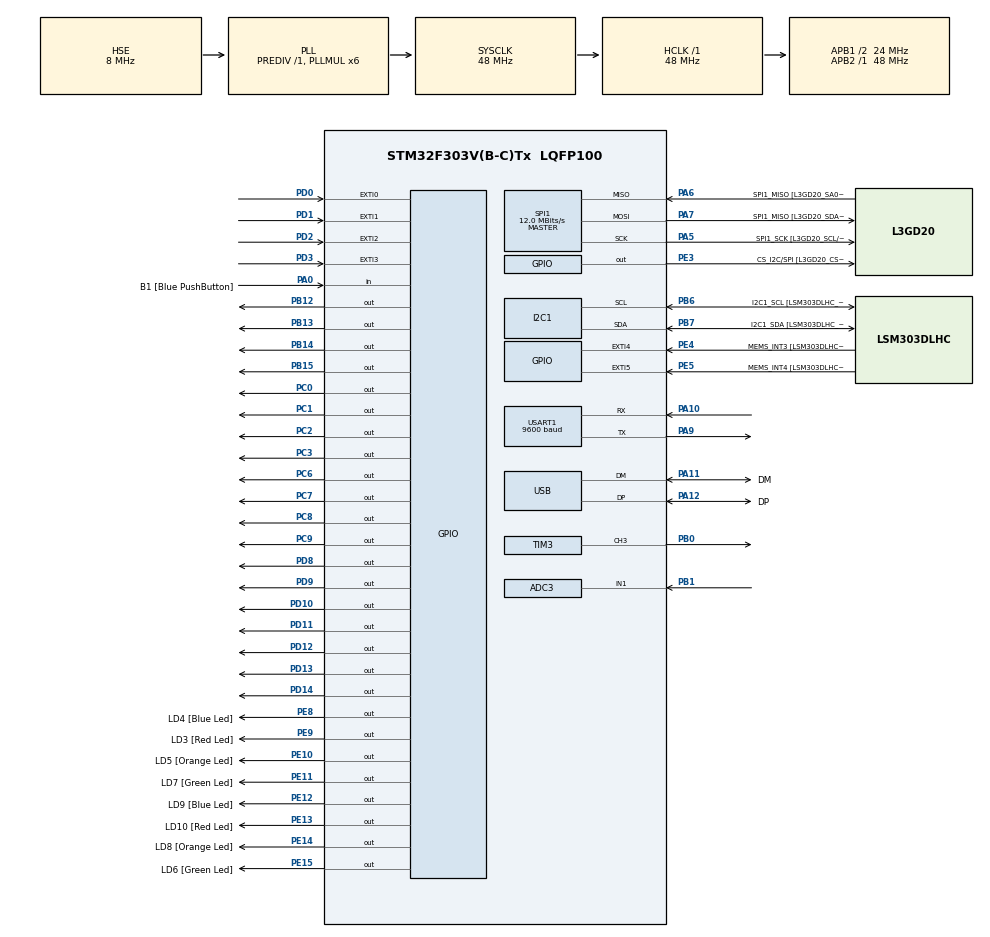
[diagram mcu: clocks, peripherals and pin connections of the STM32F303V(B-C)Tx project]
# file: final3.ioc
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ADC3.Channel-0\#ChannelRegularConversion=ADC_CHANNEL_1
ADC3.NbrOfConversionFlag=1
ADC3.Offset-0\#ChannelRegularConversion=0
ADC3.OffsetNumber-0\#ChannelRegularConversion=ADC_OFFSET_NONE
ADC3.Rank-0\#ChannelRegularConversion=1
ADC3.SamplingTime-0\#ChannelRegularConversion=ADC_SAMPLETIME_1CYCLE_5
ADC3.SamplingTimeOPAMP-0\#ChannelRegularConversion=ADC_SAMPLETIME_19CYCLES_5
ADC3.master=1
I2C1.Timing=0x2000090E
I2C1.Timing-I2C=0x2000090E
Mcu.Family=STM32F3
Mcu.Name=STM32F303V(B-C)Tx
Mcu.Package=LQFP100
NVIC.ADC3_IRQn=true\:0\:0\:false\:false\:true\:true\:true\:true
NVIC.EXTI0_IRQn=true\:0\:0\:false\:false\:true\:true\:true\:true
NVIC.EXTI1_IRQn=true\:0\:0\:false\:false\:true\:true\:true\:true
NVIC.EXTI2_TSC_IRQn=true\:0\:0\:false\:false\:true\:true\:true\:true
NVIC.EXTI3_IRQn=true\:0\:0\:false\:false\:true\:true\:true\:true
NVIC.PriorityGroup=NVIC_PRIORITYGROUP_0
NVIC.TIM3_IRQn=true\:0\:0\:false\:false\:true\:true\:true\:true
NVIC.USART1_IRQn=true\:0\:0\:false\:false\:true\:true\:true\:true
PA0.GPIO_Label=B1 [Blue PushButton]
PA0.Signal=GPIO_Input
PA10.Mode=Asynchronous
PA10.Signal=USART1_RX
PA11.GPIO_Label=DM
PA11.Mode=Device
PA11.Signal=USB_DM
PA12.GPIO_Label=DP
PA12.Mode=Device
PA12.Signal=USB_DP
PA13.GPIO_Label=SWDIO
PA13.Mode=Serial_Wire
PA13.Signal=SYS_JTMS-SWDIO
PA14.GPIO_Label=SWCLK
PA14.Mode=Serial_Wire
PA14.Signal=SYS_JTCK-SWCLK
PA5.GPIO_Label=SPI1_SCK [L3GD20_SCL/SPC]
PA5.Mode=Full_Duplex_Master
PA5.Signal=SPI1_SCK
PA6.GPIO_Label=SPI1_MISO [L3GD20_SA0/SDO]
PA6.Mode=Full_Duplex_Master
PA6.Signal=SPI1_MISO
PA7.GPIO_Label=SPI1_MISO [L3GD20_SDA/SDI/SDO]
PA7.Mode=Full_Duplex_Master
PA7.Signal=SPI1_MOSI
PA9.Mode=Asynchronous
PA9.Signal=USART1_TX
PB0.Signal=S_TIM3_CH3
PB1.Mode=IN1-Single-Ended
PB1.Signal=ADC3_IN1
PB12.Signal=GPIO_Output
PB13.Signal=GPIO_Output
PB14.Signal=GPIO_Output
PB15.Signal=GPIO_Output
PB3.GPIO_Label=SWO
PB3.Signal=SYS_JTDO-TRACESWO
PB6.GPIO_Label=I2C1_SCL [LSM303DLHC_SCL]
PB6.GPIO_Pu=GPIO_PULLUP
PB6.Mode=I2C
PB6.Signal=I2C1_SCL
PB7.GPIO_Label=I2C1_SDA [LSM303DLHC_SDA]
PB7.GPIO_Pu=GPIO_PULLUP
PB7.Mode=I2C
PB7.Signal=I2C1_SDA
PC0.Signal=GPIO_Output
PC1.Signal=GPIO_Output
PC14-OSC32_IN.GPIO_Label=OSC32_IN
PC14-OSC32_IN.Signal=RCC_OSC32_IN
PC15-OSC32_OUT.GPIO_Label=OSC32_OUT
PC15-OSC32_OUT.Signal=RCC_OSC32_OUT
PC2.Signal=GPIO_Output
PC3.Signal=GPIO_Output
PC6.Signal=GPIO_Output
PC7.Signal=GPIO_Output
PC8.Signal=GPIO_Output
PC9.Signal=GPIO_Output
PD0.GPIO_ModeDefaultEXTI=GPIO_MODE_IT_RISING_FALLING
PD0.GPIO_PuPd=GPIO_PULLDOWN
PD0.Signal=GPXTI0
PD1.GPIO_ModeDefaultEXTI=GPIO_MODE_IT_RISING_FALLING
PD1.GPIO_PuPd=GPIO_PULLDOWN
PD1.Signal=GPXTI1
PD10.Signal=GPIO_Output
PD11.Signal=GPIO_Output
PD12.Signal=GPIO_Output
PD13.Signal=GPIO_Output
PD14.Signal=GPIO_Output
PD2.GPIO_ModeDefaultEXTI=GPIO_MODE_IT_RISING_FALLING
PD2.GPIO_PuPd=GPIO_PULLDOWN
PD2.Signal=GPXTI2
PD3.GPIO_ModeDefaultEXTI=GPIO_MODE_IT_RISING_FALLING
PD3.GPIO_PuPd=GPIO_PULLDOWN
PD3.Signal=GPXTI3
PD8.Signal=GPIO_Output
PD9.Signal=GPIO_Output
PE10.GPIO_Label=LD5 [Orange Led]
PE10.Signal=GPIO_Output
PE11.GPIO_Label=LD7 [Green Led]
PE11.Signal=GPIO_Output
PE12.GPIO_Label=LD9 [Blue Led]
PE12.Signal=GPIO_Output
PE13.GPIO_Label=LD10 [Red Led]
PE13.Signal=GPIO_Output
PE14.GPIO_Label=LD8 [Orange Led]
PE14.Signal=GPIO_Output
PE15.GPIO_Label=LD6 [Green Led]
PE15.Signal=GPIO_Output
PE3.GPIO_Label=CS_I2C/SPI [L3GD20_CS_I2C/SPI]
PE3.Signal=GPIO_Output
PE4.GPIO_Label=MEMS_INT3 [LSM303DLHC_INT1]
PE4.GPIO_ModeDefaultEXTI=GPIO_MODE_EVT_RISING
PE4.Signal=GPXTI4
PE5.GPIO_Label=MEMS_INT4 [LSM303DLHC_INT2]
PE5.GPIO_ModeDefaultEXTI=GPIO_MODE_EVT_RISING
PE5.Signal=GPXTI5
PE8.GPIO_Label=LD4 [Blue Led]
PE8.Signal=GPIO_Output
PE9.GPIO_Label=LD3 [Red Led]
PE9.Signal=GPIO_Output
PF0-OSC_IN.GPIO_Label=OSC_IN
PF0-OSC_IN.Mode=HSE-External-Clock-Source
PF0-OSC_IN.Signal=RCC_OSC_IN
PF1-OSC_OUT.GPIO_Label=OSC_OUT
PF1-OSC_OUT.Signal=RCC_OSC_OUT
ProjectManager.HeapSize=0x200
ProjectManager.StackSize=0x400
ProjectManager.TargetToolchain=STM32CubeIDE
RCC.AHBFreq_Value=48000000
RCC.APB1CLKDivider=RCC_HCLK_DIV2
RCC.APB1Freq_Value=24000000
RCC.APB1TimFreq_Value=48000000
RCC.APB2Freq_Value=48000000
RCC.APB2TimFreq_Value=48000000
RCC.CortexFreq_Value=48000000
RCC.HCLKFreq_Value=48000000
RCC.HSE_VALUE=8000000
RCC.HSI_VALUE=8000000
RCC.LSE_VALUE=32768
RCC.PLLMUL=RCC_PLL_MUL6
RCC.SYSCLKFreq_VALUE=48000000
RCC.SYSCLKSourceVirtual=RCC_SYSCLKSOURCE_PLLCLK
RCC.USBFreq_Value=48000000
SH.S_TIM3_CH3.0=TIM3_CH3,PWM Generation3 CH3
SPI1.BaudRatePrescaler=SPI_BAUDRATEPRESCALER_4
SPI1.BaudRatePrescaler-Full_Duplex_Master=SPI_BAUDRATEPRESCALER_2
SPI1.CalculateBaudRate=12.0 MBits/s
SPI1.CalculateBaudRate-Full_Duplex_Master=24.0 MBits/s
SPI1.Direction=SPI_DIRECTION_2LINES
SPI1.Mode=SPI_MODE_MASTER
SPI1.Mode-Full_Duplex_Master=SPI_MODE_MASTER
SPI1.VirtualType=VM_MASTER
TIM3.Channel-PWM\ Generation3\ CH3=TIM_CHANNEL_3
TIM3.Period=999
TIM3.Prescaler=71
USART1.BaudRate=9600
USART1.VirtualMode-Asynchronous=VM_ASYNC
VP_RTC_VS_RTC_Activate.Mode=RTC_Enabled
VP_TIM3_VS_ClockSourceINT.Mode=Internal
board=STM32F3DISCOVERY

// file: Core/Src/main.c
/* USER CODE BEGIN Header */
/**
 ******************************************************************************
 * @file           : main.c
 * @brief          : Main program body
 ******************************************************************************
 * @attention
 *
 * Copyright (c) 2025 STMicroelectronics.
 * All rights reserved.
 *
 * This software is licensed under terms that can be found in the LICENSE file
 * in the root directory of this software component.
 * If no LICENSE file comes with this software, it is provided AS-IS.
 *
 ******************************************************************************
 */
/* USER CODE END Header */
#include "main.h"

/* USER CODE BEGIN Includes */
#include "LiquidCrystal.h"
#include "string.h"
#include <stdbool.h>
#include <time.h>

/* USER CODE END Includes */

/* USER CODE BEGIN PD */
#define CHAR_PADDLE 1
#define CHAR_BALL   2
#define CHAR_HEART  3
#define BLOCK_ROWS 4
#define BLOCK_COLS 6

/* USER CODE END PD */

ADC_HandleTypeDef hadc3;

I2C_HandleTypeDef hi2c1;

RTC_HandleTypeDef hrtc;

SPI_HandleTypeDef hspi1;

TIM_HandleTypeDef htim3;

UART_HandleTypeDef huart1;

PCD_HandleTypeDef hpcd_USB_FS;

void SystemClock_Config(void);
static void MX_GPIO_Init(void);
static void MX_I2C1_Init(void);
static void MX_SPI1_Init(void);
static void MX_USB_PCD_Init(void);
static void MX_USART1_UART_Init(void);
static void MX_RTC_Init(void);
static void MX_TIM3_Init(void);
static void MX_ADC3_Init(void);
/* USER CODE BEGIN PFP */
typedef unsigned char byte;
RTC_TimeTypeDef nowTime;
RTC_DateTypeDef nowDate;

/* USER CODE END PFP */

/* USER CODE BEGIN 0 */

void off() {
	HAL_GPIO_WritePin(GPIOB, GPIO_PIN_12, RESET);
	HAL_GPIO_WritePin(GPIOB, GPIO_PIN_13, RESET);
	HAL_GPIO_WritePin(GPIOB, GPIO_PIN_14, RESET);
	HAL_GPIO_WritePin(GPIOB, GPIO_PIN_15, RESET);

	HAL_GPIO_WritePin(GPIOC, GPIO_PIN_1, RESET);
	HAL_GPIO_WritePin(GPIOC, GPIO_PIN_2, RESET);
	HAL_GPIO_WritePin(GPIOC, GPIO_PIN_0, RESET);
	HAL_GPIO_WritePin(GPIOC, GPIO_PIN_3, RESET);

}

void show_0() {
	HAL_GPIO_WritePin(GPIOC, GPIO_PIN_3, RESET);
	HAL_GPIO_WritePin(GPIOC, GPIO_PIN_2, RESET);
	HAL_GPIO_WritePin(GPIOC, GPIO_PIN_1, RESET);
	HAL_GPIO_WritePin(GPIOC, GPIO_PIN_0, RESET);

}
void show_1() {
	HAL_GPIO_WritePin(GPIOC, GPIO_PIN_1, RESET);
	HAL_GPIO_WritePin(GPIOC, GPIO_PIN_2, RESET);
	HAL_GPIO_WritePin(GPIOC, GPIO_PIN_0, SET);
	HAL_GPIO_WritePin(GPIOC, GPIO_PIN_3, RESET);
}
void show_2() {
	HAL_GPIO_WritePin(GPIOC, GPIO_PIN_1, SET);
	HAL_GPIO_WritePin(GPIOC, GPIO_PIN_2, RESET);
	HAL_GPIO_WritePin(GPIOC, GPIO_PIN_0, RESET);
	HAL_GPIO_WritePin(GPIOC, GPIO_PIN_3, RESET);
}
void show_3() {
	HAL_GPIO_WritePin(GPIOC, GPIO_PIN_1, SET);
	HAL_GPIO_WritePin(GPIOC, GPIO_PIN_2, RESET);
	HAL_GPIO_WritePin(GPIOC, GPIO_PIN_0, SET);
	HAL_GPIO_WritePin(GPIOC, GPIO_PIN_3, RESET);

}
void show_4() {
	HAL_GPIO_WritePin(GPIOC, GPIO_PIN_1, RESET);
	HAL_GPIO_WritePin(GPIOC, GPIO_PIN_2, SET);
	HAL_GPIO_WritePin(GPIOC, GPIO_PIN_0, RESET);
	HAL_GPIO_WritePin(GPIOC, GPIO_PIN_3, RESET);
}
void show_5() {
	HAL_GPIO_WritePin(GPIOC, GPIO_PIN_1, RESET);
	HAL_GPIO_WritePin(GPIOC, GPIO_PIN_2, SET);
	HAL_GPIO_WritePin(GPIOC, GPIO_PIN_0, SET);
	HAL_GPIO_WritePin(GPIOC, GPIO_PIN_3, RESET);
}
void show_6() {
	HAL_GPIO_WritePin(GPIOC, GPIO_PIN_1, SET);
	HAL_GPIO_WritePin(GPIOC, GPIO_PIN_2, SET);
	HAL_GPIO_WritePin(GPIOC, GPIO_PIN_0, RESET);
	HAL_GPIO_WritePin(GPIOC, GPIO_PIN_3, RESET);
}
void show_7() {
	HAL_GPIO_WritePin(GPIOC, GPIO_PIN_1, SET);
	HAL_GPIO_WritePin(GPIOC, GPIO_PIN_2, SET);
	HAL_GPIO_WritePin(GPIOC, GPIO_PIN_0, SET);
	HAL_GPIO_WritePin(GPIOC, GPIO_PIN_3, RESET);
}
void show_8() {
	HAL_GPIO_WritePin(GPIOC, GPIO_PIN_1, RESET);
	HAL_GPIO_WritePin(GPIOC, GPIO_PIN_2, RESET);
	HAL_GPIO_WritePin(GPIOC, GPIO_PIN_0, RESET);
	HAL_GPIO_WritePin(GPIOC, GPIO_PIN_3, SET);
}
void show_9() {
	HAL_GPIO_WritePin(GPIOC, GPIO_PIN_1, RESET);
	HAL_GPIO_WritePin(GPIOC, GPIO_PIN_2, RESET);
	HAL_GPIO_WritePin(GPIOC, GPIO_PIN_0, SET);
	HAL_GPIO_WritePin(GPIOC, GPIO_PIN_3, SET);
}
void reset() {
	off();
	HAL_GPIO_WritePin(GPIOB, GPIO_PIN_12, RESET);
	show_0();
	HAL_GPIO_WritePin(GPIOB, GPIO_PIN_13, RESET);
	show_0();
	HAL_GPIO_WritePin(GPIOB, GPIO_PIN_14, RESET);
	show_0();
	HAL_GPIO_WritePin(GPIOB, GPIO_PIN_15, RESET);
	show_0();
}

typedef void (*func_ptr)();
func_ptr functionArray[10] = { show_0, show_1, show_2, show_3, show_4, show_5,
		show_6, show_7, show_8, show_9 };

byte circle[] = { 0x0E, 0x11, 0x11, 0x11, 0x11, 0x11, 0x11, 0x0E };
byte heart[] = { 0x0C, 0x1E, 0x1F, 0x0F, 0x1F, 0x1F, 0x1E, 0x0C };
byte square[] = { 0x00, 0x00, 0x0E, 0x0E, 0x0E, 0x0E, 0x00, 0x00 };
byte padle[] = { 0x01, 0x01, 0x01, 0x01, 0x01, 0x01, 0x01, 0x01 };

typedef struct {
	uint16_t freq;
	uint16_t dur;
} Note;

Note game_song[] = { { 262, 300 }, // DO
		{ 294, 300 }, // RE
		{ 330, 300 }, // MI
		{ 349, 300 }, // FA
		{ 392, 300 }, // SOL
		};

uint32_t player_health = 5;
uint32_t player_Hscore = 0;
uint32_t player_score = 0;
char player_name[6];

uint32_t ball_move = 0;
int menu_key = 0;
int start = 0;
int score = 0;
int blocks[BLOCK_ROWS][BLOCK_COLS];
int elements_num = 1 ;

int paddle_x = 0;
int paddle_flag = 3;
int PADDLE_WIDTH = 1;
int change_paddle = 1 ; // 1 = keypad  2 = potensiometr

int ballX = 12;
int ballY = 2;
int ballDX = 1;
int ballDY = 1;
int ball_num = 1 ;

int menu_flag = 3;
int ok_flag = 3;
int setting_flag = 3;
int stop_flag = 3 ;
int end_flag = 3 ;
int end_key = 1 ;

char gameMap[4][20];
int menu_mode = 0;
int mode = 0;

int clear_menu = 0;

char menuItems[5][16] = { "User ", "Start", "Continue", "Settings", "About" };

struct Ball {
	int x, y;
	int dx, dy;
};

struct Ball ball;

void first_page() {
	setCursor(4, 0);
	print("Block Breaker");
	setCursor(9, 3);
	print("_");
}

void menu() {
	if (clear_menu == 1) {
		clear();
		clear_menu = 0;
	}

	int j = 0;
	for (int i = 0; i < 4; i++) {
		j++;

		if (menu_key < 4) {
			setCursor(0, i);
			print(menuItems[i]);
		} else if (menu_key == 4) {
			setCursor(0, i);
			print(menuItems[j]);

		}

	}

}
void update_menu() {
	int col = strlen(menuItems[menu_key]);
	setCursor(col + 1, menu_key);
	print(" ");

	if (menu_flag == 1) {
		menu_key++;
		menu_flag = 3;
	} else if (menu_flag == 0) {
		menu_key--;
		menu_flag = 3;
	}
	col = strlen(menuItems[menu_key]);
	setCursor(col + 1, menu_key);
	print("<");

}

void setting() {
	if (clear_menu == 1) {
		clear();
		clear_menu = 0;
	}
	char buffer[20];
	char B_buffer[30];
	char health ;
	char b_num ;
	sprintf(buffer, "health : %d", player_health);
	sprintf(B_buffer, "elements  : %d", elements_num);
	setCursor(0, 0);
	print(buffer);
	setCursor(0, 1);
	print(B_buffer);

}
void user_info() {
	if (clear_menu == 1) {
		clear();
		clear_menu = 0;
	}
	char buffer2[30];

	sprintf(buffer2, "score : %d", player_score);
	setCursor(0, 0);
	print(player_name);
	setCursor(0, 1);
	print(buffer2);

}
void get_info() {
	HAL_UART_Transmit(&huart1, "enter your name : ",
			strlen("enter your name : "), HAL_MAX_DELAY);
	HAL_UART_Receive(&huart1, &player_name, 6, HAL_MAX_DELAY);
	HAL_UART_Transmit(&huart1, player_name, strlen(player_name), HAL_MAX_DELAY);
	clear();
	mode = 1 ;

}

void check_lose() {
	char game_over[8] = "GAMEOVER";
	if (player_health == 0) {
		mode = 0;
		int k = 0;
		for (int i = 10; i < 12; i++) {
			for (int j = 0; j < 4; j++) {
				setCursor(i, j);
				write(game_over[k]);
				k++;

			}
		}
	clear();
	mode = 4 ;
	}
	if (player_score > player_Hscore){
		player_Hscore = player_score ;
	}

}
void end(){
	char buffer[30];
	sprintf(buffer, "score : %d", player_score);
	setCursor(0, 0);
	print(buffer);
	setCursor(0, 1);
	print("restart");
	setCursor(0, 2);
	print("exit");

}
void end_menu() {
	setCursor(10, end_key);
	print(" ");

	if (end_flag == 1) {
		end_key++;
		end_flag = 3;
	} else if (end_flag == 0) {
		end_key--;
		menu_flag = 3;
	}
	setCursor(10 , end_key);
	print("<");
	if (ok_flag == 1){
		if(end_key == 1){
			mode = 2 ;
			ok_flag = 3 ;
		}
		else if (end_key == 2){
			mode = 1 ;
			ok_flag = 3 ;
		}
	}

}

void about() {
	if (clear_menu == 1) {
		clear();
		clear_menu = 0;
	}

	HAL_RTC_GetTime(&hrtc, &nowTime, RTC_FORMAT_BIN);
	HAL_RTC_GetDate(&hrtc, &nowDate, RTC_FORMAT_BIN);
	char line1[21], line2[21];
	sprintf(line1, "Time: %02d:%02d:%02d", nowTime.Hours, nowTime.Minutes,
			nowTime.Seconds);
	sprintf(line2, "Date: %02d/%02d/20%02d", nowDate.Date, nowDate.Month,
			nowDate.Year);
	setCursor(0, 0);
	print("new player");
	setCursor(0, 1);
	print(line1);
	setCursor(0, 2);
	print(line2);

}
void creat_ranom(){
	srand(HAL_GetTick());
	int r = rand() % 10;

}

void countdown(){
	setCursor(11, 1);
	print("3");
	HAL_Delay(500);
	setCursor(11, 1);
	print("2");
	HAL_Delay(500);
	setCursor(11, 1);
	print("1");
	HAL_Delay(500);
	setCursor(11, 1);
	print(" ");

}
void board_game() {
	if (clear_menu == 1) {
		clear();
		clear_menu = 0;
	}
	HAL_GPIO_WritePin(GPIOE, GPIO_PIN_8, SET);

	for (int i = 0; i < BLOCK_ROWS; i++) {
		for (int j = 0; j < BLOCK_COLS; j++) {
			blocks[i][j] = 1;
			setCursor(j, i);
			print("o");
		}
	}

	srand(HAL_GetTick());
	int r = rand() % 10;

	setCursor(4, 2);
	write(CHAR_HEART);
	blocks[2][4] = 3;

	setCursor(5, 2);
	write(CHAR_BALL);
	blocks[2][5] = 2;

	setCursor(3, 1);
	print("*");
	blocks[1][3] = 4;

	ballX = 14;
	ballY = 2;
	setCursor(ballX, ballY);
	write(CHAR_BALL);

	setCursor(17, paddle_x);
	write(CHAR_PADDLE);
}

void updateBall() {

	setCursor(ballX, ballY);
	print(" ");

	ballX += ballDX;
	ballY += ballDY;

	if (ballY < BLOCK_ROWS && ballX < BLOCK_COLS && blocks[ballY][ballX] > 0) {
		play_hit_sound();

		if (blocks[ballY][ballX] == 1)
			player_score++;
		else if (blocks[ballY][ballX] == 2) {
				ball_num++;
		}
		else if (blocks[ballY][ballX] == 3) {
			HAL_GPIO_WritePin(GPIOE, GPIO_PIN_10, SET);
			player_health++;
		}
		else if (blocks[ballY][ballX] == 4) {
				player_score--;
		}

		blocks[ballY][ballX] = 0;
		setCursor(ballX, ballY);
		print(" ");

		if (ballDX != 0)
			ballDX *= -1;
		if (ballDY != 0)
			ballDY *= -1;
	}

	else if (ballDX > 0 && ballX == 17 && ballY == paddle_x) {
		ballDX = -1;
	}

	else {
		if (ballX <= 0 || ballX >= 19)
			ballDX *= -1;

		if (ballY <= 0 || ballY >= 3)
			ballDY *= -1;
	}

	if (ballX >= 19) {
		player_health--;
		check_lose();
		ballX = 10;
		ballY = 2;
		ballDX = -1;
		ballDY = 1;

	}

	setCursor(ballX, ballY);
	write(CHAR_BALL);
}

void update_paddle() {
	if (paddle_flag != 3) {
		setCursor(17, paddle_x);
		print(" ");
	}
	if (paddle_flag == 1 && paddle_x < 4) {
		paddle_x++;
		paddle_flag = 3;
	}
	if (paddle_flag == 0 && paddle_x > 0) {
		paddle_x--;
		paddle_flag = 3;
	}
	setCursor(17, paddle_x);
	write(CHAR_PADDLE);

}

uint32_t read_pot() {
    HAL_ADC_Start(&hadc3);
    HAL_ADC_PollForConversion(&hadc3, HAL_MAX_DELAY);
    return HAL_ADC_GetValue(&hadc3);
}

int map_adc_to_paddle(uint32_t adc_value) {
    return (adc_value * 4) / 4096;
}

void update_potansiometr() {
    static int last_paddle_x = -1;

    uint32_t adc_val = read_pot();
    int new_paddle_x = map_adc_to_paddle(adc_val);

    if (new_paddle_x != last_paddle_x) {

        if (last_paddle_x >= 0 && last_paddle_x <= 3) {
            setCursor(17, last_paddle_x);
            print(" ");
        }

        paddle_x = new_paddle_x;
        setCursor(17, paddle_x);
        write(CHAR_PADDLE);

        last_paddle_x = new_paddle_x;
    }
}

void show_health() {
	off();
	HAL_GPIO_WritePin(GPIOB, GPIO_PIN_12, SET);
	functionArray[player_score / 100]();
	HAL_Delay(2);

	off();
	HAL_GPIO_WritePin(GPIOB, GPIO_PIN_13, SET);
	functionArray[(player_score % 100) / 10]();
	HAL_Delay(2);

	off();
	HAL_GPIO_WritePin(GPIOB, GPIO_PIN_14, SET);
	functionArray[player_score % 10]();
	HAL_Delay(2);

	off();
	HAL_GPIO_WritePin(GPIOB, GPIO_PIN_15, SET);
	functionArray[player_health]();
	HAL_Delay(2);
//		off();

}

void buzzer_play_tone(uint16_t freq, uint16_t duration_ms) {

	__HAL_TIM_SET_AUTORELOAD(&htim3, (1000000 / freq) - 1);
	__HAL_TIM_SET_COMPARE(&htim3, TIM_CHANNEL_3, (500000 / freq)); // 50% duty
	HAL_TIM_PWM_Start(&htim3, TIM_CHANNEL_3);
	HAL_Delay(duration_ms);
	HAL_TIM_PWM_Stop(&htim3, TIM_CHANNEL_3);
}

int length_ckecker = 0 ;
uint32_t last_song = 0 ;
void play_song(Note *song, int length) {
	if(HAL_GetTick() - last_song > 50 ){
		buzzer_play_tone(song[length_ckecker].freq, song[length_ckecker].dur);
		length_ckecker++;
		last_song = HAL_GetTick();

	}
	if (length_ckecker == 4 ){
		length_ckecker = 0;
	}
}

void play_hit_sound() {
	buzzer_play_tone(800, 80);
	buzzer_play_tone(600, 80);
}

// Row1 PD0, Row2 PD1, Row3 PD2, Row4 PD3
GPIO_TypeDef *const Row_ports[] = { GPIOD, GPIOD, GPIOD, GPIOD };
const uint16_t Row_pins[] = { GPIO_PIN_0, GPIO_PIN_1, GPIO_PIN_2, GPIO_PIN_3 };
// Output pins: Column1 PC6, Column2 PC7, Column3 PC8, Column4 PC9
GPIO_TypeDef *const Column_ports[] = { GPIOC, GPIOC, GPIOC, GPIOC };
const uint16_t Column_pins[] =
		{ GPIO_PIN_9, GPIO_PIN_8, GPIO_PIN_7, GPIO_PIN_6 };
volatile uint32_t last_gpio_exti = 0;

void HAL_GPIO_EXTI_Callback(uint16_t GPIO_Pin) {
	if (last_gpio_exti + 200 > HAL_GetTick()) // Simple button debouncing
			{
		return;
	}
	last_gpio_exti = HAL_GetTick();

	int8_t row_number = -1;
	int8_t column_number = -1;

	for (uint8_t row = 0; row < 4; row++) // Loop through Rows
			{
		if (GPIO_Pin == Row_pins[row]) {
			row_number = row;
		}
	}
	HAL_GPIO_WritePin(Column_ports[0], Column_pins[0], 0);
	HAL_GPIO_WritePin(Column_ports[1], Column_pins[1], 0);
	HAL_GPIO_WritePin(Column_ports[2], Column_pins[2], 0);
	HAL_GPIO_WritePin(Column_ports[3], Column_pins[3], 0);

	for (uint8_t col = 0; col < 4; col++) // Loop through Columns
			{
		HAL_GPIO_WritePin(Column_ports[col], Column_pins[col], 1);
		if (HAL_GPIO_ReadPin(Row_ports[row_number], Row_pins[row_number])) {
			column_number = col;
		}
		HAL_GPIO_WritePin(Column_ports[col], Column_pins[col], 0);
	}

	HAL_GPIO_WritePin(Column_ports[0], Column_pins[0], 1);
	HAL_GPIO_WritePin(Column_ports[1], Column_pins[1], 1);
	HAL_GPIO_WritePin(Column_ports[2], Column_pins[2], 1);
	HAL_GPIO_WritePin(Column_ports[3], Column_pins[3], 1);

	if (row_number == -1 || column_number == -1) {
		return; // Reject invalid scan
	}
	const uint8_t button_number = row_number * 4 + column_number + 1;
	switch (button_number) {
	case 1:
		HAL_GPIO_TogglePin(GPIOE, GPIO_PIN_8);

		/* code */
		break;
	case 2:
		HAL_GPIO_TogglePin(GPIOE, GPIO_PIN_9);
		if (mode == 1) {
			menu_flag = 0;
		} else if (mode == 2) {
			setting_flag = 0;
		}
		if(mode == 4){
			end_flag = 0 ;
		}

		/* code */
		break;
	case 3:

		HAL_GPIO_TogglePin(GPIOE, GPIO_PIN_10);
//		menu_key++;
		/* code */
		break;
	case 4:

		HAL_GPIO_TogglePin(GPIOE, GPIO_PIN_11);
		if (mode == 1) {
			ok_flag = 3;
		}
		clear_menu = 1;

		/* code */
		break;
	case 5:
		HAL_GPIO_TogglePin(GPIOE, GPIO_PIN_12);
		paddle_flag = 0;

		/* code */
		break;
	case 6:
		HAL_GPIO_TogglePin(GPIOE, GPIO_PIN_13);
		if (ok_flag != 1)
			ok_flag = 1;
		else if (ok_flag == 1)
			ok_flag = 2;
		if(mode == 4){
			ok_flag = 1 ;
		}
//		ok_flag = 1;
		clear_menu = 1;

		/* code */
		break;
	case 7:
		HAL_GPIO_TogglePin(GPIOE, GPIO_PIN_14);
		paddle_flag = 1;

		/* code */
		break;
	case 8:

		/* code */
		break;
	case 9:
		HAL_GPIO_TogglePin(GPIOE, GPIO_PIN_9);
		if (change_paddle !=  1) change_paddle = 1 ;
		else if (change_paddle == 1) change_paddle = 2;

		/* code */
		break;
	case 10:
		HAL_GPIO_TogglePin(GPIOE, GPIO_PIN_13);
		if (mode == 1) {
			menu_flag = 1;
		} else if (mode == 2) {
			setting_flag = 1;
		}
		if (mode == 4){
			end_flag = 1 ;
		}
//		menu_flag = 1;

		/* code */
		break;

	default:
		break;
	}
}

/* USER CODE END 0 */

int main(void)
{

  /* MCU Configuration--------------------------------------------------------*/

  /* Reset of all peripherals, Initializes the Flash interface and the Systick. */
  HAL_Init();

  /* Configure the system clock */
  SystemClock_Config();

  /* Initialize all configured peripherals */
  MX_GPIO_Init();
  MX_I2C1_Init();
  MX_SPI1_Init();
  MX_USB_PCD_Init();
  MX_USART1_UART_Init();
  MX_RTC_Init();
  MX_TIM3_Init();
  MX_ADC3_Init();
  /* USER CODE BEGIN 2 */

	LiquidCrystal(GPIOD, GPIO_PIN_8, GPIO_PIN_9, GPIO_PIN_10,
	GPIO_PIN_11, GPIO_PIN_12, GPIO_PIN_13, GPIO_PIN_14);

	HAL_Delay(50);
	begin(20, 4);
	createChar(CHAR_PADDLE, padle);
	createChar(CHAR_HEART, heart);
	createChar(CHAR_BALL, square);

	first_page();

	get_info();

  /* USER CODE END 2 */

  /* Infinite loop */
  /* USER CODE BEGIN WHILE */
	while (1) {
//		play_song(game_song, sizeof(game_song)/sizeof(game_song[0]));
		if (mode == 1) {
			if (ok_flag != 1) {
				menu();
				update_menu();
			} else if (ok_flag == 1) {
				switch (menu_key) {
				case 0:
					user_info();
					break;
				case 1:
					mode = 2;
					break;
				case 2:
					mode = 3;
					break;
				case 3:
					setting();
					break;
				case 4:
					about();
					break;
				default:
					break;
				}
			}
		}
		if (mode == 2) {
			board_game();
			countdown();
			mode = 3;
		}

		if (mode == 3) {
			show_health();
			play_song(game_song, sizeof(game_song)/sizeof(game_song[0]));
			if (change_paddle == 1){
			update_paddle();
			}
			else if ( change_paddle == 2){
				update_potansiometr();
			}
			if (HAL_GetTick() - ball_move > 500) {
				updateBall();
				ball_move = HAL_GetTick();
			}
		}
		if(mode == 4){
			end();
			end_menu();
		}

    /* USER CODE END WHILE */

	}
}

void SystemClock_Config(void)
{
  RCC_OscInitTypeDef RCC_OscInitStruct = {0};
  RCC_ClkInitTypeDef RCC_ClkInitStruct = {0};
  RCC_PeriphCLKInitTypeDef PeriphClkInit = {0};

  /** Initializes the RCC Oscillators according to the specified parameters
  * in the RCC_OscInitTypeDef structure.
  */
  RCC_OscInitStruct.OscillatorType = RCC_OSCILLATORTYPE_HSI|RCC_OSCILLATORTYPE_LSI
                              |RCC_OSCILLATORTYPE_HSE;
  RCC_OscInitStruct.HSEState = RCC_HSE_BYPASS;
  RCC_OscInitStruct.HSEPredivValue = RCC_HSE_PREDIV_DIV1;
  RCC_OscInitStruct.HSIState = RCC_HSI_ON;
  RCC_OscInitStruct.HSICalibrationValue = RCC_HSICALIBRATION_DEFAULT;
  RCC_OscInitStruct.LSIState = RCC_LSI_ON;
  RCC_OscInitStruct.PLL.PLLState = RCC_PLL_ON;
  RCC_OscInitStruct.PLL.PLLSource = RCC_PLLSOURCE_HSE;
  RCC_OscInitStruct.PLL.PLLMUL = RCC_PLL_MUL6;
  if (HAL_RCC_OscConfig(&RCC_OscInitStruct) != HAL_OK)
  {
    Error_Handler();
  }

  /** Initializes the CPU, AHB and APB buses clocks
  */
  RCC_ClkInitStruct.ClockType = RCC_CLOCKTYPE_HCLK|RCC_CLOCKTYPE_SYSCLK
                              |RCC_CLOCKTYPE_PCLK1|RCC_CLOCKTYPE_PCLK2;
  RCC_ClkInitStruct.SYSCLKSource = RCC_SYSCLKSOURCE_PLLCLK;
  RCC_ClkInitStruct.AHBCLKDivider = RCC_SYSCLK_DIV1;
  RCC_ClkInitStruct.APB1CLKDivider = RCC_HCLK_DIV2;
  RCC_ClkInitStruct.APB2CLKDivider = RCC_HCLK_DIV1;

  if (HAL_RCC_ClockConfig(&RCC_ClkInitStruct, FLASH_LATENCY_1) != HAL_OK)
  {
    Error_Handler();
  }
  PeriphClkInit.PeriphClockSelection = RCC_PERIPHCLK_USB|RCC_PERIPHCLK_USART1
                              |RCC_PERIPHCLK_I2C1|RCC_PERIPHCLK_RTC
                              |RCC_PERIPHCLK_ADC34;
  PeriphClkInit.Usart1ClockSelection = RCC_USART1CLKSOURCE_PCLK2;
  PeriphClkInit.Adc34ClockSelection = RCC_ADC34PLLCLK_DIV1;
  PeriphClkInit.I2c1ClockSelection = RCC_I2C1CLKSOURCE_HSI;
  PeriphClkInit.RTCClockSelection = RCC_RTCCLKSOURCE_LSI;
  PeriphClkInit.USBClockSelection = RCC_USBCLKSOURCE_PLL;
  if (HAL_RCCEx_PeriphCLKConfig(&PeriphClkInit) != HAL_OK)
  {
    Error_Handler();
  }
}

static void MX_ADC3_Init(void)
{

  ADC_MultiModeTypeDef multimode = {0};
  ADC_ChannelConfTypeDef sConfig = {0};

  /** Common config
  */
  hadc3.Instance = ADC3;
  hadc3.Init.ClockPrescaler = ADC_CLOCK_ASYNC_DIV1;
  hadc3.Init.Resolution = ADC_RESOLUTION_12B;
  hadc3.Init.ScanConvMode = ADC_SCAN_DISABLE;
  hadc3.Init.ContinuousConvMode = DISABLE;
  hadc3.Init.DiscontinuousConvMode = DISABLE;
  hadc3.Init.ExternalTrigConvEdge = ADC_EXTERNALTRIGCONVEDGE_NONE;
  hadc3.Init.ExternalTrigConv = ADC_SOFTWARE_START;
  hadc3.Init.DataAlign = ADC_DATAALIGN_RIGHT;
  hadc3.Init.NbrOfConversion = 1;
  hadc3.Init.DMAContinuousRequests = DISABLE;
  hadc3.Init.EOCSelection = ADC_EOC_SINGLE_CONV;
  hadc3.Init.LowPowerAutoWait = DISABLE;
  hadc3.Init.Overrun = ADC_OVR_DATA_OVERWRITTEN;
  if (HAL_ADC_Init(&hadc3) != HAL_OK)
  {
    Error_Handler();
  }

  /** Configure the ADC multi-mode
  */
  multimode.Mode = ADC_MODE_INDEPENDENT;
  if (HAL_ADCEx_MultiModeConfigChannel(&hadc3, &multimode) != HAL_OK)
  {
    Error_Handler();
  }

  /** Configure Regular Channel
  */
  sConfig.Channel = ADC_CHANNEL_1;
  sConfig.Rank = ADC_REGULAR_RANK_1;
  sConfig.SingleDiff = ADC_SINGLE_ENDED;
  sConfig.SamplingTime = ADC_SAMPLETIME_1CYCLE_5;
  sConfig.OffsetNumber = ADC_OFFSET_NONE;
  sConfig.Offset = 0;
  if (HAL_ADC_ConfigChannel(&hadc3, &sConfig) != HAL_OK)
  {
    Error_Handler();
  }

}

static void MX_I2C1_Init(void)
{

  hi2c1.Instance = I2C1;
  hi2c1.Init.Timing = 0x2000090E;
  hi2c1.Init.OwnAddress1 = 0;
  hi2c1.Init.AddressingMode = I2C_ADDRESSINGMODE_7BIT;
  hi2c1.Init.DualAddressMode = I2C_DUALADDRESS_DISABLE;
  hi2c1.Init.OwnAddress2 = 0;
  hi2c1.Init.OwnAddress2Masks = I2C_OA2_NOMASK;
  hi2c1.Init.GeneralCallMode = I2C_GENERALCALL_DISABLE;
  hi2c1.Init.NoStretchMode = I2C_NOSTRETCH_DISABLE;
  if (HAL_I2C_Init(&hi2c1) != HAL_OK)
  {
    Error_Handler();
  }

  /** Configure Analogue filter
  */
  if (HAL_I2CEx_ConfigAnalogFilter(&hi2c1, I2C_ANALOGFILTER_ENABLE) != HAL_OK)
  {
    Error_Handler();
  }

  /** Configure Digital filter
  */
  if (HAL_I2CEx_ConfigDigitalFilter(&hi2c1, 0) != HAL_OK)
  {
    Error_Handler();
  }

}

static void MX_RTC_Init(void)
{

  /** Initialize RTC Only
  */
  hrtc.Instance = RTC;
  hrtc.Init.HourFormat = RTC_HOURFORMAT_24;
  hrtc.Init.AsynchPrediv = 127;
  hrtc.Init.SynchPrediv = 255;
  hrtc.Init.OutPut = RTC_OUTPUT_DISABLE;
  hrtc.Init.OutPutPolarity = RTC_OUTPUT_POLARITY_HIGH;
  hrtc.Init.OutPutType = RTC_OUTPUT_TYPE_OPENDRAIN;
  if (HAL_RTC_Init(&hrtc) != HAL_OK)
  {
    Error_Handler();
  }

}

static void MX_SPI1_Init(void)
{

  /* SPI1 parameter configuration*/
  hspi1.Instance = SPI1;
  hspi1.Init.Mode = SPI_MODE_MASTER;
  hspi1.Init.Direction = SPI_DIRECTION_2LINES;
  hspi1.Init.DataSize = SPI_DATASIZE_4BIT;
  hspi1.Init.CLKPolarity = SPI_POLARITY_LOW;
  hspi1.Init.CLKPhase = SPI_PHASE_1EDGE;
  hspi1.Init.NSS = SPI_NSS_SOFT;
  hspi1.Init.BaudRatePrescaler = SPI_BAUDRATEPRESCALER_4;
  hspi1.Init.FirstBit = SPI_FIRSTBIT_MSB;
  hspi1.Init.TIMode = SPI_TIMODE_DISABLE;
  hspi1.Init.CRCCalculation = SPI_CRCCALCULATION_DISABLE;
  hspi1.Init.CRCPolynomial = 7;
  hspi1.Init.CRCLength = SPI_CRC_LENGTH_DATASIZE;
  hspi1.Init.NSSPMode = SPI_NSS_PULSE_ENABLE;
  if (HAL_SPI_Init(&hspi1) != HAL_OK)
  {
    Error_Handler();
  }

}

static void MX_TIM3_Init(void)
{

  TIM_ClockConfigTypeDef sClockSourceConfig = {0};
  TIM_MasterConfigTypeDef sMasterConfig = {0};
  TIM_OC_InitTypeDef sConfigOC = {0};

  htim3.Instance = TIM3;
  htim3.Init.Prescaler = 71;
  htim3.Init.CounterMode = TIM_COUNTERMODE_UP;
  htim3.Init.Period = 999;
  htim3.Init.ClockDivision = TIM_CLOCKDIVISION_DIV1;
  htim3.Init.AutoReloadPreload = TIM_AUTORELOAD_PRELOAD_DISABLE;
  if (HAL_TIM_Base_Init(&htim3) != HAL_OK)
  {
    Error_Handler();
  }
  sClockSourceConfig.ClockSource = TIM_CLOCKSOURCE_INTERNAL;
  if (HAL_TIM_ConfigClockSource(&htim3, &sClockSourceConfig) != HAL_OK)
  {
    Error_Handler();
  }
  if (HAL_TIM_PWM_Init(&htim3) != HAL_OK)
  {
    Error_Handler();
  }
  sMasterConfig.MasterOutputTrigger = TIM_TRGO_RESET;
  sMasterConfig.MasterSlaveMode = TIM_MASTERSLAVEMODE_DISABLE;
  if (HAL_TIMEx_MasterConfigSynchronization(&htim3, &sMasterConfig) != HAL_OK)
  {
    Error_Handler();
  }
  sConfigOC.OCMode = TIM_OCMODE_PWM1;
  sConfigOC.Pulse = 0;
  sConfigOC.OCPolarity = TIM_OCPOLARITY_HIGH;
  sConfigOC.OCFastMode = TIM_OCFAST_DISABLE;
  if (HAL_TIM_PWM_ConfigChannel(&htim3, &sConfigOC, TIM_CHANNEL_3) != HAL_OK)
  {
    Error_Handler();
  }
  HAL_TIM_MspPostInit(&htim3);

}

static void MX_USART1_UART_Init(void)
{

  huart1.Instance = USART1;
  huart1.Init.BaudRate = 9600;
  huart1.Init.WordLength = UART_WORDLENGTH_8B;
  huart1.Init.StopBits = UART_STOPBITS_1;
  huart1.Init.Parity = UART_PARITY_NONE;
  huart1.Init.Mode = UART_MODE_TX_RX;
  huart1.Init.HwFlowCtl = UART_HWCONTROL_NONE;
  huart1.Init.OverSampling = UART_OVERSAMPLING_16;
  huart1.Init.OneBitSampling = UART_ONE_BIT_SAMPLE_DISABLE;
  huart1.AdvancedInit.AdvFeatureInit = UART_ADVFEATURE_NO_INIT;
  if (HAL_UART_Init(&huart1) != HAL_OK)
  {
    Error_Handler();
  }

}

static void MX_USB_PCD_Init(void)
{

  hpcd_USB_FS.Instance = USB;
  hpcd_USB_FS.Init.dev_endpoints = 8;
  hpcd_USB_FS.Init.speed = PCD_SPEED_FULL;
  hpcd_USB_FS.Init.phy_itface = PCD_PHY_EMBEDDED;
  hpcd_USB_FS.Init.low_power_enable = DISABLE;
  hpcd_USB_FS.Init.battery_charging_enable = DISABLE;
  if (HAL_PCD_Init(&hpcd_USB_FS) != HAL_OK)
  {
    Error_Handler();
  }

}

static void MX_GPIO_Init(void)
{
  GPIO_InitTypeDef GPIO_InitStruct = {0};

  /* GPIO Ports Clock Enable */
  __HAL_RCC_GPIOE_CLK_ENABLE();
  __HAL_RCC_GPIOC_CLK_ENABLE();
  __HAL_RCC_GPIOF_CLK_ENABLE();
  __HAL_RCC_GPIOA_CLK_ENABLE();
  __HAL_RCC_GPIOB_CLK_ENABLE();
  __HAL_RCC_GPIOD_CLK_ENABLE();

  /*Configure GPIO pin Output Level */
  HAL_GPIO_WritePin(GPIOE, CS_I2C_SPI_Pin|LD4_Pin|LD3_Pin|LD5_Pin
                          |LD7_Pin|LD9_Pin|LD10_Pin|LD8_Pin
                          |LD6_Pin, GPIO_PIN_RESET);

  /*Configure GPIO pin Output Level */
  HAL_GPIO_WritePin(GPIOC, GPIO_PIN_0|GPIO_PIN_1|GPIO_PIN_2|GPIO_PIN_3
                          |GPIO_PIN_6|GPIO_PIN_7|GPIO_PIN_8|GPIO_PIN_9, GPIO_PIN_RESET);

  /*Configure GPIO pin Output Level */
  HAL_GPIO_WritePin(GPIOB, GPIO_PIN_12|GPIO_PIN_13|GPIO_PIN_14|GPIO_PIN_15, GPIO_PIN_RESET);

  /*Configure GPIO pin Output Level */
  HAL_GPIO_WritePin(GPIOD, GPIO_PIN_8|GPIO_PIN_9|GPIO_PIN_10|GPIO_PIN_11
                          |GPIO_PIN_12|GPIO_PIN_13|GPIO_PIN_14, GPIO_PIN_RESET);

  /*Configure GPIO pins : CS_I2C_SPI_Pin LD4_Pin LD3_Pin LD5_Pin
                           LD7_Pin LD9_Pin LD10_Pin LD8_Pin
                           LD6_Pin */
  GPIO_InitStruct.Pin = CS_I2C_SPI_Pin|LD4_Pin|LD3_Pin|LD5_Pin
                          |LD7_Pin|LD9_Pin|LD10_Pin|LD8_Pin
                          |LD6_Pin;
  GPIO_InitStruct.Mode = GPIO_MODE_OUTPUT_PP;
  GPIO_InitStruct.Pull = GPIO_NOPULL;
  GPIO_InitStruct.Speed = GPIO_SPEED_FREQ_LOW;
  HAL_GPIO_Init(GPIOE, &GPIO_InitStruct);

  /*Configure GPIO pins : MEMS_INT3_Pin MEMS_INT4_Pin */
  GPIO_InitStruct.Pin = MEMS_INT3_Pin|MEMS_INT4_Pin;
  GPIO_InitStruct.Mode = GPIO_MODE_EVT_RISING;
  GPIO_InitStruct.Pull = GPIO_NOPULL;
  HAL_GPIO_Init(GPIOE, &GPIO_InitStruct);

  /*Configure GPIO pins : PC0 PC1 PC2 PC3
                           PC6 PC7 PC8 PC9 */
  GPIO_InitStruct.Pin = GPIO_PIN_0|GPIO_PIN_1|GPIO_PIN_2|GPIO_PIN_3
                          |GPIO_PIN_6|GPIO_PIN_7|GPIO_PIN_8|GPIO_PIN_9;
  GPIO_InitStruct.Mode = GPIO_MODE_OUTPUT_PP;
  GPIO_InitStruct.Pull = GPIO_NOPULL;
  GPIO_InitStruct.Speed = GPIO_SPEED_FREQ_LOW;
  HAL_GPIO_Init(GPIOC, &GPIO_InitStruct);

  /*Configure GPIO pin : B1_Pin */
  GPIO_InitStruct.Pin = B1_Pin;
  GPIO_InitStruct.Mode = GPIO_MODE_INPUT;
  GPIO_InitStruct.Pull = GPIO_NOPULL;
  HAL_GPIO_Init(B1_GPIO_Port, &GPIO_InitStruct);

  /*Configure GPIO pins : PB12 PB13 PB14 PB15 */
  GPIO_InitStruct.Pin = GPIO_PIN_12|GPIO_PIN_13|GPIO_PIN_14|GPIO_PIN_15;
  GPIO_InitStruct.Mode = GPIO_MODE_OUTPUT_PP;
  GPIO_InitStruct.Pull = GPIO_NOPULL;
  GPIO_InitStruct.Speed = GPIO_SPEED_FREQ_LOW;
  HAL_GPIO_Init(GPIOB, &GPIO_InitStruct);

  /*Configure GPIO pins : PD8 PD9 PD10 PD11
                           PD12 PD13 PD14 */
  GPIO_InitStruct.Pin = GPIO_PIN_8|GPIO_PIN_9|GPIO_PIN_10|GPIO_PIN_11
                          |GPIO_PIN_12|GPIO_PIN_13|GPIO_PIN_14;
  GPIO_InitStruct.Mode = GPIO_MODE_OUTPUT_PP;
  GPIO_InitStruct.Pull = GPIO_NOPULL;
  GPIO_InitStruct.Speed = GPIO_SPEED_FREQ_LOW;
  HAL_GPIO_Init(GPIOD, &GPIO_InitStruct);

  /*Configure GPIO pins : PD0 PD1 PD2 PD3 */
  GPIO_InitStruct.Pin = GPIO_PIN_0|GPIO_PIN_1|GPIO_PIN_2|GPIO_PIN_3;
  GPIO_InitStruct.Mode = GPIO_MODE_IT_RISING_FALLING;
  GPIO_InitStruct.Pull = GPIO_PULLDOWN;
  HAL_GPIO_Init(GPIOD, &GPIO_InitStruct);

  /* EXTI interrupt init*/
  HAL_NVIC_SetPriority(EXTI0_IRQn, 0, 0);
  HAL_NVIC_EnableIRQ(EXTI0_IRQn);

  HAL_NVIC_SetPriority(EXTI1_IRQn, 0, 0);
  HAL_NVIC_EnableIRQ(EXTI1_IRQn);

  HAL_NVIC_SetPriority(EXTI2_TSC_IRQn, 0, 0);
  HAL_NVIC_EnableIRQ(EXTI2_TSC_IRQn);

  HAL_NVIC_SetPriority(EXTI3_IRQn, 0, 0);
  HAL_NVIC_EnableIRQ(EXTI3_IRQn);

}

void Error_Handler(void)
{
	__disable_irq();
	while (1) {
	}
}
